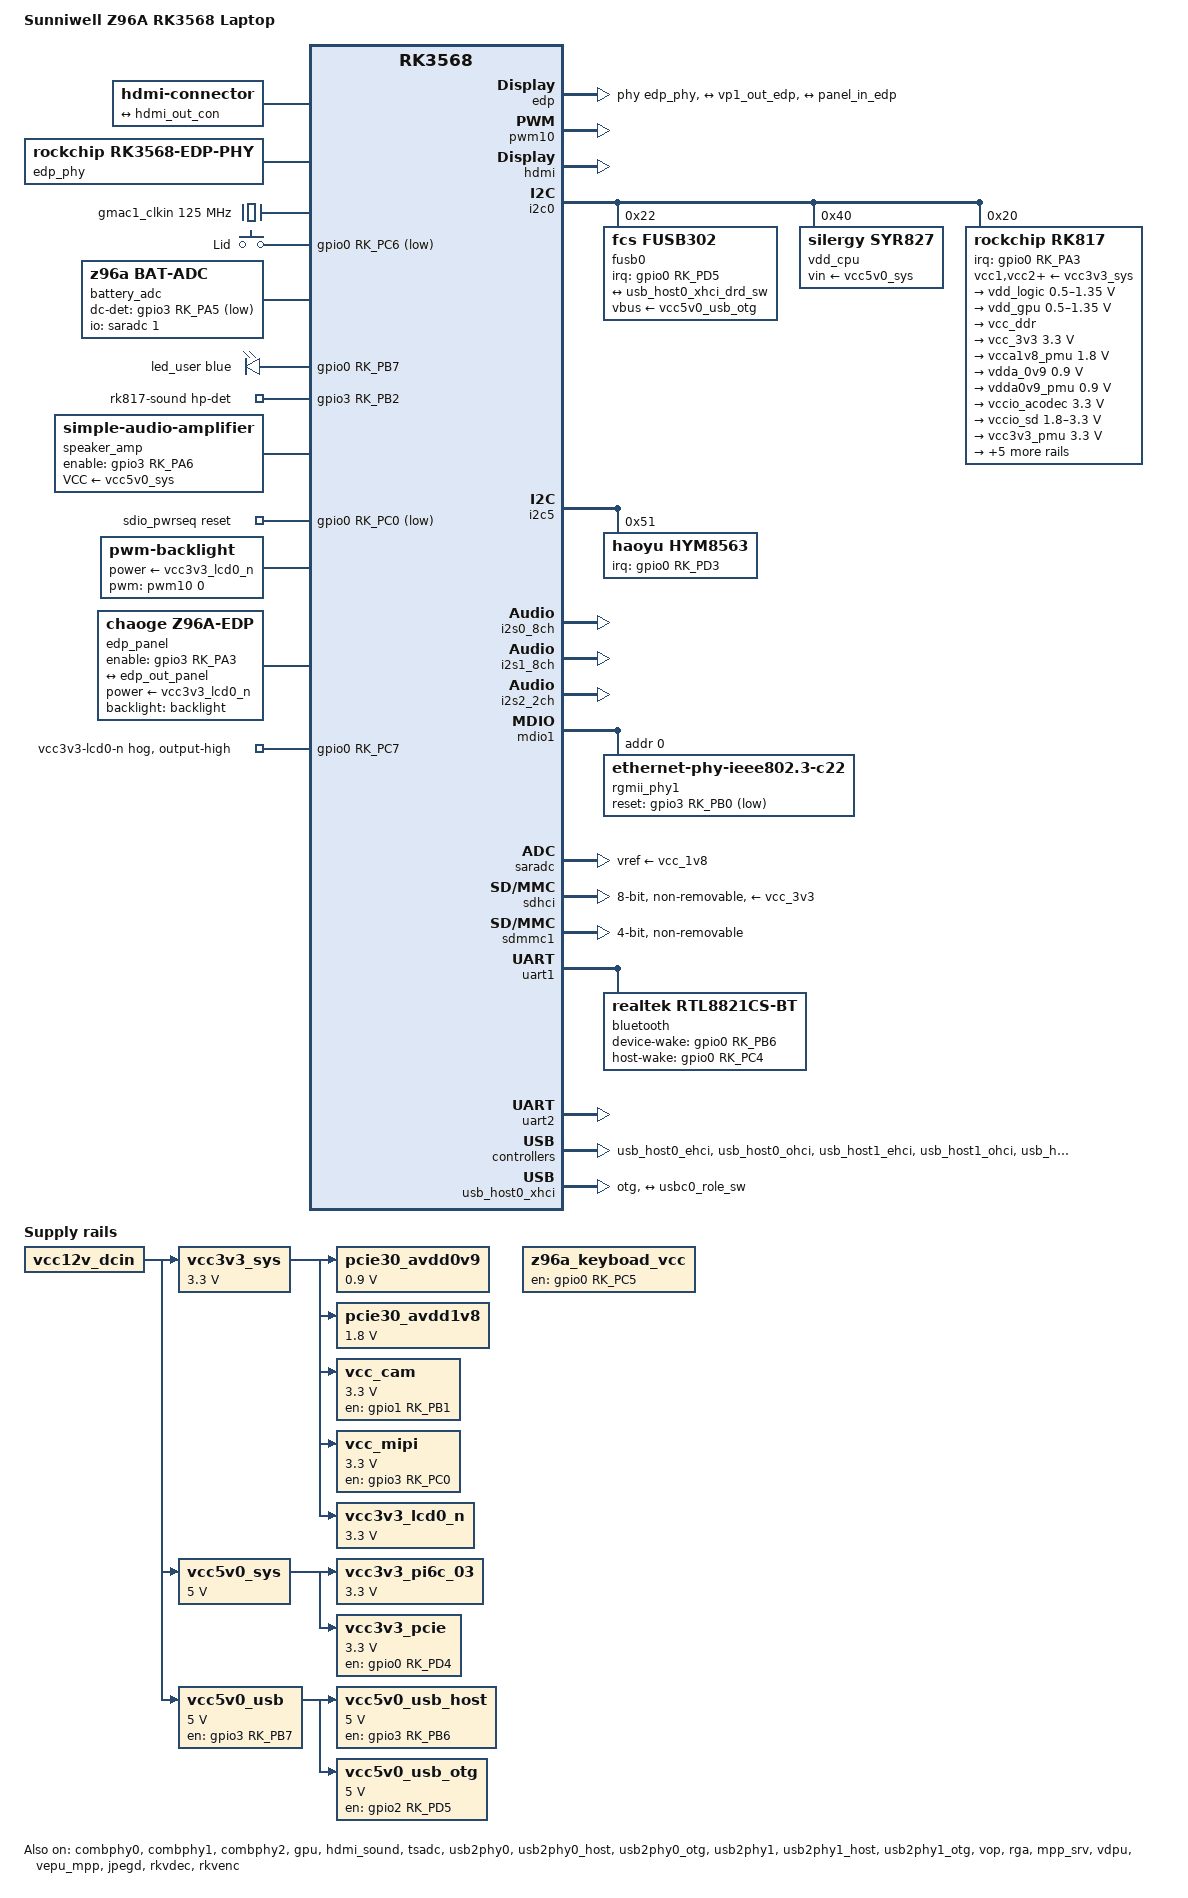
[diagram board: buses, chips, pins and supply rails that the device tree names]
// SPDX-License-Identifier: (GPL-2.0+ OR MIT)

/*
 * Sunniwell Z96A RK3568 laptop — mainline (current/6.18) bring-up DTS.
 * Derived from rk3568-rock-3a.dts; PMIC is RK817 (not Rock 3A's RK809).
 * First goal: boot + serial + regulators + Panfrost path.
 * eDP panel + PWM backlight from vendor 6.1 DTS; unused gmac1 disabled.
 * Battery: SARADC ch1 via z96a,bat-adc (CONFIG_BATTERY_Z96A_ADC). EC keyboard may still be incomplete.
 */

/dts-v1/;
#include <dt-bindings/gpio/gpio.h>
#include <dt-bindings/input/linux-event-codes.h>
#include <dt-bindings/leds/common.h>
#include <dt-bindings/pinctrl/rockchip.h>
#include <dt-bindings/soc/rockchip,vop2.h>
#include <dt-bindings/interrupt-controller/arm-gic.h>
#include <dt-bindings/clock/rk3568-cru.h>
#include <dt-bindings/power/rk3568-power.h>
#include <dt-bindings/usb/pd.h>
#include "rk3568.dtsi"

/ {
	model = "Sunniwell Z96A RK3568 Laptop";
	compatible = "sunniwell,z96a", "rockchip,rk3568";

	aliases {
		mmc0 = &sdhci;
		mmc1 = &sdmmc1;
		serial2 = &uart2;
	};

	chosen: chosen {
		stdout-path = "serial2:1500000n8";
		/*
		 * eDP fbcon: map:0 → /dev/fb0 (map:1 leaves panel blank).
		 * Mode matches the 1920x1080 panel used on hybrid bring-up.
		 * Full images still override via boot-z96a.cmd; this covers FIT/direct boot.
		 */
		bootargs = "earlycon=uart8250,mmio32,0xfe660000 console=ttyS2,1500000 console=tty1 consoleblank=0 fbcon=map:0 video=eDP-1:1920x1080@60";
	};

	hdmi-con {
		compatible = "hdmi-connector";
		type = "a";

		port {
			hdmi_con_in: endpoint {
				remote-endpoint = <&hdmi_out_con>;
			};
		};
	};


	/* SoC eDP (normally in rk356x-base.dtsi; kept board-local for reliable apply) */
	edp_phy_grf: syscon@fdcb0000 {
		compatible = "rockchip,rk3568-edp-phy-grf", "syscon", "simple-mfd";
		reg = <0x0 0xfdcb0000 0x0 0x100>;
		clocks = <&cru PCLK_EDPPHY_GRF>;

		edp_phy: edp-phy {
			compatible = "rockchip,rk3568-edp-phy";
			clocks = <&pmucru XIN_OSC0_EDPPHY_G>;
			clock-names = "refclk";
			#phy-cells = <0>;
			status = "disabled";
		};
	};

	edp: edp@fe0c0000 {
		compatible = "rockchip,rk3568-edp";
		reg = <0x0 0xfe0c0000 0x0 0x10000>;
		interrupts = <GIC_SPI 18 IRQ_TYPE_LEVEL_HIGH>;
		/* Vendor: CLK_EDP_200M as "spdif" — required for video path */
		clocks = <&pmucru XIN_OSC0_EDPPHY_G>, <&cru PCLK_EDP_CTRL>,
			 <&cru CLK_EDP_200M>, <&cru HCLK_VO>;
		clock-names = "dp", "pclk", "spdif", "hclk";
		resets = <&cru SRST_EDP_24M>, <&cru SRST_P_EDP_CTRL>;
		reset-names = "dp", "apb";
		phys = <&edp_phy>;
		phy-names = "dp";
		power-domains = <&power RK3568_PD_VO>;
		rockchip,grf = <&grf>;
		status = "disabled";

		ports {
			#address-cells = <1>;
			#size-cells = <0>;

			edp_in: port@0 {
				reg = <0>;
			};

			edp_out: port@1 {
				reg = <1>;
			};
		};
	};



	gmac1_clkin: external-gmac1-clock {
		compatible = "fixed-clock";
		clock-frequency = <125000000>;
		clock-output-names = "gmac1_clkin";
		#clock-cells = <0>;
	};

	/* Hall lid on GPIO0_C6 — SW_LID (userspace blanks; logind ignore suspend). */
	gpio_key_lid: gpio-key-lid {
		compatible = "gpio-keys";
		pinctrl-names = "default";
		pinctrl-0 = <&mh248_irq_gpio>;

		lid {
			label = "Lid";
			gpios = <&gpio0 RK_PC6 GPIO_ACTIVE_LOW>;
			linux,code = <SW_LID>;
			linux,input-type = <EV_SW>;
			wakeup-source;
			debounce-interval = <20>;
		};
	};

	/*
	 * 2S pack voltage via SoC SARADC ch1 (vendor battery-use-adc path).
	 * Scale: shipping Android bat_res 232/50 → ratio 5640 (see bat-adc-src).
	 * DC jack: GPIO3_PA5 ACTIVE_LOW (not RK_PC0 — that is vcc_mipi).
	 * Driver: bat-adc-src/z96a_bat_adc.c → CONFIG_BATTERY_Z96A_ADC.
	 * DC STATUS: GPIO IRQ + 50ms debounce; capacity still 5s poll + hysteresis.
	 */
	battery_adc: battery-adc {
		compatible = "z96a,bat-adc";
		io-channels = <&saradc 1>;
		io-channel-names = "battery-voltage";
		dc-det-gpios = <&gpio3 RK_PA5 GPIO_ACTIVE_LOW>;
		pinctrl-names = "default";
		pinctrl-0 = <&dc_det_pin>;
		status = "okay";
	};

	leds {
		compatible = "gpio-leds";

		led_user: led-0 {
			gpios = <&gpio0 RK_PB7 GPIO_ACTIVE_HIGH>;
			function = LED_FUNCTION_POWER;
			color = <LED_COLOR_ID_BLUE>;
			default-state = "on";
			linux,default-trigger = "default-on";
			pinctrl-names = "default";
			pinctrl-0 = <&led_user_en>;
		};
	};

	/*
	 * Vendor codec: AW8737 on HP path (spk-use-hp-channel + spk-ctl GPIO3_PA6),
	 * headset detect GPIO3_PB2. Mainline equivalent = PineTab2 simple-audio-amplifier.
	 */
	rk817-sound {
		compatible = "simple-audio-card";
		pinctrl-names = "default";
		pinctrl-0 = <&hp_det>;
		simple-audio-card,format = "i2s";
		simple-audio-card,name = "Analog RK817";
		simple-audio-card,mclk-fs = <256>;

		simple-audio-card,widgets =
			"Microphone", "Mic Jack",
			"Headphone", "Headphones",
			"Speaker", "Internal Speakers";

		simple-audio-card,routing =
			"MICR", "Mic Jack",
			"Headphones", "HPOL",
			"Headphones", "HPOR",
			"Internal Speakers", "Speaker Amplifier OUTL",
			"Internal Speakers", "Speaker Amplifier OUTR",
			"Speaker Amplifier INL", "HPOL",
			"Speaker Amplifier INR", "HPOR";
		simple-audio-card,hp-det-gpios = <&gpio3 RK_PB2 GPIO_ACTIVE_HIGH>;
		simple-audio-card,aux-devs = <&speaker_amp>;
		simple-audio-card,pin-switches = "Internal Speakers";

		simple-audio-card,cpu {
			sound-dai = <&i2s1_8ch>;
		};

		simple-audio-card,codec {
			sound-dai = <&rk817>;
		};
	};

	speaker_amp: speaker-amplifier {
		compatible = "simple-audio-amplifier";
		pinctrl-names = "default";
		pinctrl-0 = <&spk_ctl>;
		enable-gpios = <&gpio3 RK_PA6 GPIO_ACTIVE_HIGH>;
		sound-name-prefix = "Speaker Amplifier";
		VCC-supply = <&vcc5v0_sys>;
	};

	/* Vendor Z96A: WiFi reset on GPIO0_C0 (Rock 3A used GPIO3_D4). */
	sdio_pwrseq: sdio-pwrseq {
		compatible = "mmc-pwrseq-simple";
		clocks = <&rk817 1>;
		clock-names = "ext_clock";
		pinctrl-names = "default";
		pinctrl-0 = <&wifi_enable_h>;
		post-power-on-delay-ms = <100>;
		power-off-delay-us = <5000000>;
		reset-gpios = <&gpio0 RK_PC0 GPIO_ACTIVE_LOW>;
	};

	vcc12v_dcin: regulator-vcc12v-dcin {
		compatible = "regulator-fixed";
		regulator-name = "vcc12v_dcin";
		regulator-always-on;
		regulator-boot-on;
	};

	pcie30_avdd0v9: regulator-pcie30-avdd0v9 {
		compatible = "regulator-fixed";
		regulator-name = "pcie30_avdd0v9";
		regulator-always-on;
		regulator-boot-on;
		regulator-min-microvolt = <900000>;
		regulator-max-microvolt = <900000>;
		vin-supply = <&vcc3v3_sys>;
	};

	pcie30_avdd1v8: regulator-pcie30-avdd1v8 {
		compatible = "regulator-fixed";
		regulator-name = "pcie30_avdd1v8";
		regulator-always-on;
		regulator-boot-on;
		regulator-min-microvolt = <1800000>;
		regulator-max-microvolt = <1800000>;
		vin-supply = <&vcc3v3_sys>;
	};

	/* pi6c pcie clock generator */
	vcc3v3_pi6c_03: regulator-vcc3v3-pi6c-03 {
		compatible = "regulator-fixed";
		regulator-name = "vcc3v3_pi6c_03";
		regulator-always-on;
		regulator-boot-on;
		regulator-min-microvolt = <3300000>;
		regulator-max-microvolt = <3300000>;
		vin-supply = <&vcc5v0_sys>;
	};

	vcc3v3_pcie: regulator-vcc3v3-pcie {
		compatible = "regulator-fixed";
		enable-active-high;
		gpios = <&gpio0 RK_PD4 GPIO_ACTIVE_HIGH>;
		pinctrl-names = "default";
		pinctrl-0 = <&pcie_enable_h>;
		regulator-name = "vcc3v3_pcie";
		regulator-min-microvolt = <3300000>;
		regulator-max-microvolt = <3300000>;
		vin-supply = <&vcc5v0_sys>;
	};

	vcc3v3_sys: regulator-vcc3v3-sys {
		compatible = "regulator-fixed";
		regulator-name = "vcc3v3_sys";
		regulator-always-on;
		regulator-boot-on;
		regulator-min-microvolt = <3300000>;
		regulator-max-microvolt = <3300000>;
		vin-supply = <&vcc12v_dcin>;
	};

	vcc5v0_sys: regulator-vcc5v0-sys {
		compatible = "regulator-fixed";
		regulator-name = "vcc5v0_sys";
		regulator-always-on;
		regulator-boot-on;
		regulator-min-microvolt = <5000000>;
		regulator-max-microvolt = <5000000>;
		vin-supply = <&vcc12v_dcin>;
	};

	vcc5v0_usb: regulator-vcc5v0-usb {
		compatible = "regulator-fixed";
		regulator-name = "vcc5v0_usb";
		regulator-always-on;
		regulator-boot-on;
		regulator-min-microvolt = <5000000>;
		regulator-max-microvolt = <5000000>;
		enable-active-high;
		gpio = <&gpio3 RK_PB7 GPIO_ACTIVE_HIGH>;
		vin-supply = <&vcc12v_dcin>;
		pinctrl-names = "default";
		pinctrl-0 = <&vcc5v0_otg_pwr_en>;
	};

	vcc5v0_usb_host: regulator-vcc5v0-usb-host {
		compatible = "regulator-fixed";
		enable-active-high;
		gpio = <&gpio3 RK_PB6 GPIO_ACTIVE_HIGH>;
		pinctrl-names = "default";
		pinctrl-0 = <&vcc5v0_usb_host_en>;
		regulator-name = "vcc5v0_usb_host";
		regulator-always-on;
		regulator-boot-on;
		regulator-min-microvolt = <5000000>;
		regulator-max-microvolt = <5000000>;
		vin-supply = <&vcc5v0_usb>;
	};

	vcc5v0_usb_otg: regulator-vcc5v0-usb-otg {
		compatible = "regulator-fixed";
		enable-active-high;
		gpio = <&gpio2 RK_PD5 GPIO_ACTIVE_HIGH>;
		pinctrl-names = "default";
		pinctrl-0 = <&vcc5v0_usb_otg_en>;
		regulator-name = "vcc5v0_usb_otg";
		regulator-min-microvolt = <5000000>;
		regulator-max-microvolt = <5000000>;
		vin-supply = <&vcc5v0_usb>;
	};

	/* Keyboard/touchpad combo 5V (USB HID behind Terminus hub). */
	z96a_keyboad_vcc: z96a-keyboad-vcc {
		compatible = "regulator-fixed";
		gpio = <&gpio0 RK_PC5 GPIO_ACTIVE_HIGH>;
		pinctrl-names = "default";
		pinctrl-0 = <&z96a_keyboard_pwr>;
		regulator-name = "z96a_keyboad_vcc";
		enable-active-high;
		regulator-always-on;
		regulator-boot-on;
	};

	vcc_cam: regulator-vcc-cam {
		compatible = "regulator-fixed";
		enable-active-high;
		gpio = <&gpio1 RK_PB1 GPIO_ACTIVE_HIGH>;
		pinctrl-names = "default";
		pinctrl-0 = <&vcc_cam_en>;
		regulator-name = "vcc_cam";
		regulator-min-microvolt = <3300000>;
		regulator-max-microvolt = <3300000>;
		vin-supply = <&vcc3v3_sys>;

		regulator-state-mem {
			regulator-off-in-suspend;
		};
	};

	vcc_mipi: regulator-vcc-mipi {
		compatible = "regulator-fixed";
		enable-active-high;
		gpio = <&gpio3 RK_PC0 GPIO_ACTIVE_HIGH>;
		pinctrl-names = "default";
		pinctrl-0 = <&vcc_mipi_en>;
		regulator-name = "vcc_mipi";
		regulator-min-microvolt = <3300000>;
		regulator-max-microvolt = <3300000>;
		vin-supply = <&vcc3v3_sys>;

		regulator-state-mem {
			regulator-off-in-suspend;
		};
	};

	/*
	 * LCD 3V3 rail. Hybrid log showed regulator "enabled" while GPIO0_PC7
	 * stayed out-lo (ena_gpio_state vs raw level mismatch) — panel/AUX dead
	 * and no backlight glow. Own the pin via gpio-hog (below) and keep this
	 * as a pure always-on supply for consumers.
	 */
	vcc3v3_lcd0_n: vcc3v3-lcd0-n {
		compatible = "regulator-fixed";
		regulator-name = "vcc3v3_lcd0_n";
		regulator-always-on;
		regulator-boot-on;
		regulator-min-microvolt = <3300000>;
		regulator-max-microvolt = <3300000>;
		vin-supply = <&vcc3v3_sys>;
	};

	backlight: backlight {
		compatible = "pwm-backlight";
		pwms = <&pwm10 0 5000 0>; /* 200 kHz; vendor was 25000 (40 kHz) */
		brightness-levels = <
			  0  20  40  60  80 100 120 140
			160 180 200 220 240 255
		>;
		default-brightness-level = <13>;
		power-supply = <&vcc3v3_lcd0_n>;
	};

	/*
	 * Match vendor panel params (simple-panel): enable-gpios, bus-format,
	 * 20/20 delays, 1920x1080@141.4MHz. Mainline uses panel-dpi binding.
	 */
	edp_panel: edp-panel {
		compatible = "chaoge,z96a-edp", "panel-dpi";
		status = "okay";
		power-supply = <&vcc3v3_lcd0_n>;
		backlight = <&backlight>;
		enable-gpios = <&gpio3 RK_PA3 GPIO_ACTIVE_HIGH>;
		bus-format = <0x100a>; /* MEDIA_BUS_FMT_RGB888_1X24 */
		width-mm = <309>;
		height-mm = <173>;
		bpc = <8>;
		prepare-delay-ms = <20>;
		enable-delay-ms = <20>;

		panel-timing {
			clock-frequency = <141400000>;
			hactive = <1920>;
			vactive = <1080>;
			hfront-porch = <48>;
			hsync-len = <32>;
			hback-porch = <142>;
			vfront-porch = <3>;
			vsync-len = <6>;
			vback-porch = <11>;
			hsync-active = <0>;
			vsync-active = <0>;
			de-active = <0>;
			pixelclk-active = <0>;
		};

		port {
			panel_in_edp: endpoint {
				remote-endpoint = <&edp_out_panel>;
			};
		};
	};
};

&combphy0 {
	status = "okay";
};

&combphy1 {
	status = "okay";
};

&combphy2 {
	status = "okay";
};

&cpu0 {
	cpu-supply = <&vdd_cpu>;
};

&cpu1 {
	cpu-supply = <&vdd_cpu>;
};

&cpu2 {
	cpu-supply = <&vdd_cpu>;
};

&cpu3 {
	cpu-supply = <&vdd_cpu>;
};

/* Laptop has no wired RGMII; leave disabled to avoid TX watchdog spam. */
&gmac1 {
	status = "disabled";
};

&gpu {
	mali-supply = <&vdd_gpu>;
	status = "okay";
};

/*
 * CPU OC: needs TF-A SCMI PVTPLL 2088/2208 (userpatches atf 1010).
 * Voltages within SYR827 max 1.39V; validated with clk_scmi_cpu.
 */
&cpu0_opp_table {
	opp-2088000000 {
		opp-hz = /bits/ 64 <2088000000>;
		opp-microvolt = <1225000 1225000 1390000>;
		clock-latency-ns = <40000>;
	};
	opp-2208000000 {
		opp-hz = /bits/ 64 <2208000000>;
		opp-microvolt = <1300000 1300000 1390000>;
		clock-latency-ns = <40000>;
	};
};

/* GPU OC: needs TF-A SCMI PVTPLL 900/1000 (userpatches atf 1011). */
&gpu_opp_table {
	opp-900000000 {
		opp-hz = /bits/ 64 <900000000>;
		opp-microvolt = <1050000 1050000 1150000>;
	};
	opp-1000000000 {
		opp-hz = /bits/ 64 <1000000000>;
		opp-microvolt = <1100000 1100000 1150000>;
	};
};

&gpio0 {
		gpio-line-names =
				/* GPIO0_A0 - A7 */
				"", "", "", "", "", "", "", "",
				/* GPIO0_B0 - B7 */
				"", "", "", "pin-28 [GPIO0_B3]", "pin-27 [GPIO0_B4]", "pin-7 [GPIO0_B5]", "pin-16 [GPIO0_B6]", "",
				/* GPIO0_C0 - C7 */
				"", "pin-22 [GPIO0_C1]", "", "", "", "", "", "",
				/* GPIO0_D0 - D7 */
				"pin-10 [GPIO0_D0]", "pin-8 [GPIO0_D1]", "", "", "", "", "", "";

		/* Force LCD 3V3 enable high — was stuck out-lo under regulator-fixed. */
		lcd_vcc_hog: lcd-vcc-hog {
			gpio-hog;
			gpios = <RK_PC7 GPIO_ACTIVE_HIGH>;
			output-high;
			line-name = "vcc3v3-lcd0-n";
		};
};

&gpio1 {
		gpio-line-names =
				/* GPIO1_A0 - A7 */
				"pin-3 [GPIO1_A0]", "pin-5 [GPIO1_A1]", "", "", "", "", "", "",
				/* GPIO1_B0 - B7 */
				"", "", "", "", "", "", "", "",
				/* GPIO1_C0 - C7 */
				"pin-15 [GPIO0_C0]", "", "", "", "", "", "", "",
				/* GPIO1_D0 - D7 */
				"", "", "", "", "", "", "", "";
};

&gpio2 {
		gpio-line-names =
				/* GPIO2_A0 - A7 */
				"", "", "", "", "", "", "", "",
				/* GPIO2_B0 - B7 */
				"", "", "", "", "", "", "", "",
				/* GPIO2_C0 - C7 */
				"", "", "", "", "", "", "", "",
				/* GPIO2_D0 - D7 */
				"", "", "", "", "", "", "", "pin-29 [GPIO2_D7]";
};

&gpio3 {
		gpio-line-names =
				/* GPIO3_A0 - A7 */
				"pin-31 [GPIO3_A0]", "", "pin-36 [GPIO3_A2]", "pin-12 [GPIO3_A3]", "pin-35 [GPIO3_A4]", "pin-40 [GPIO3_A5]", "pin-38 [GPIO3_A6]", "",
				/* GPIO3_B0 - B7 */
				"", "", "pin-18 [GPIO3_B2]", "", "", "", "", "",
				/* GPIO3_C0 - C7 */
				"", "", "pin-32 [GPIO3_C2]", "pin-33 [GPIO3_C3]", "pin-11 [GPIO3_C4]", "pin-13 [GPIO3_C5]", "", "",
				/* GPIO3_D0 - D7 */
				"", "", "", "", "", "", "", "";

};

&gpio4 {
		gpio-line-names =
				/* GPIO4_A0 - A7 */
				"", "", "", "", "", "", "", "",
				/* GPIO4_B0 - B7 */
				"", "", "", "", "", "", "", "",
				/* GPIO4_C0 - C7 */
				"", "", "pin-21 [GPIO4_C2]", "pin-19 [GPIO4_C3]", "", "pin-21 [GPIO4_C5]", "pin-24 [GPIO4_C6]", "",
				/* GPIO4_D0 - D7 */
				"", "pin-26 [GPIO4_D1]", "", "", "", "", "", "";
};

&edp {
	force-hpd;
	status = "okay";

	ports {
		port@0 {
			reg = <0>;

			/* Vendor: eDP on vp1; VOP keeps AAAA intent (cuts OUT_MODE if needed). */
			edp_in_vp1: endpoint {
				remote-endpoint = <&vp1_out_edp>;
			};
		};

		port@1 {
			reg = <1>;

			edp_out_panel: endpoint {
				remote-endpoint = <&panel_in_edp>;
			};
		};
	};
};

&edp_phy {
	status = "okay";
};

&pwm10 {
	status = "okay";
};

&hdmi {
	avdd-0v9-supply = <&vdda_0v9>;
	avdd-1v8-supply = <&vcc_1v8>;
	status = "okay";
};

&hdmi_in {
	hdmi_in_vp0: endpoint {
		remote-endpoint = <&vp0_out_hdmi>;
	};
};

&hdmi_out {
	hdmi_out_con: endpoint {
		remote-endpoint = <&hdmi_con_in>;
	};
};

&hdmi_sound {
	status = "okay";
};

&i2c0 {
	status = "okay";


	/* Type-C / PD TCPC (vendor @0x22, INT GPIO0_PD5). */
	fusb0: typec-portc@22 {
		compatible = "fcs,fusb302";
		reg = <0x22>;
		interrupt-parent = <&gpio0>;
		interrupts = <RK_PD5 IRQ_TYPE_LEVEL_LOW>;
		pinctrl-names = "default";
		pinctrl-0 = <&fusb0_int>;
		vbus-supply = <&vcc5v0_usb_otg>;
		status = "okay";

		usb_con: connector {
			compatible = "usb-c-connector";
			label = "USB-C";
			power-role = "dual";
			data-role = "dual";
			try-power-role = "sink";
			source-pdos = <PDO_FIXED(5000, 3000, PDO_FIXED_USB_COMM)>;
			/* Keep 5V-only sink (matches vendor). Higher VBUS needs HW confirm. */
			sink-pdos = <PDO_FIXED(5000, 3000, PDO_FIXED_USB_COMM)>;
			op-sink-microwatt = <10000000>;

			ports {
				#address-cells = <1>;
				#size-cells = <0>;

				port@0 {
					reg = <0>;
					usbc0_role_sw: endpoint {
						remote-endpoint = <&usb_host0_xhci_drd_sw>;
					};
				};
			};
		};
	};

	/* Vendor Z96A: Silergy SYR827/837 @0x40 (NOT TCS4525@0x1c / Rock3A). */
	vdd_cpu: regulator@40 {
		compatible = "silergy,syr827";
		reg = <0x40>;
		fcs,suspend-voltage-selector = <1>;
		regulator-name = "vdd_cpu";
		regulator-always-on;
		regulator-boot-on;
		regulator-min-microvolt = <712500>;
		regulator-max-microvolt = <1390000>;
		regulator-ramp-delay = <2300>;
		vin-supply = <&vcc5v0_sys>;

		regulator-state-mem {
			regulator-off-in-suspend;
		};
	};

	rk817: pmic@20 {
		compatible = "rockchip,rk817";
		reg = <0x20>;
		interrupt-parent = <&gpio0>;
		interrupts = <RK_PA3 IRQ_TYPE_LEVEL_LOW>;
		assigned-clocks = <&cru I2S1_MCLKOUT_TX>;
		assigned-clock-parents = <&cru CLK_I2S1_8CH_TX>;
		#clock-cells = <1>;
		clock-names = "mclk";
		clocks = <&cru I2S1_MCLKOUT_TX>;
		pinctrl-names = "default";
		pinctrl-0 = <&pmic_int>, <&i2s1m0_mclk>;
		system-power-controller;
		#sound-dai-cells = <0>;
		vcc1-supply = <&vcc3v3_sys>;
		vcc2-supply = <&vcc3v3_sys>;
		vcc3-supply = <&vcc3v3_sys>;
		vcc4-supply = <&vcc3v3_sys>;
		vcc5-supply = <&vcc3v3_sys>;
		vcc6-supply = <&vcc3v3_sys>;
		vcc7-supply = <&vcc3v3_sys>;
		vcc8-supply = <&vcc3v3_sys>;
		vcc9-supply = <&vcc3v3_sys>;
		wakeup-source;

		/* Parsed by rk817-codec (child name must be "codec"). */
		codec {
			rockchip,mic-in-differential;
		};

		/*
		 * RK817 rail map from vendor z96a DTS (NOT Rock 3A / RK809).
		 * RK817 has no DCDC_REG5 / SWITCH_REG*; those phandles never
		 * register → eMMC vmmc defer + "vdd_npu: disabling" killing DCDC4.
		 */
		regulators {
			vdd_logic: DCDC_REG1 {
				regulator-name = "vdd_logic";
				regulator-always-on;
				regulator-boot-on;
				regulator-initial-mode = <0x2>;
				regulator-min-microvolt = <500000>;
				regulator-max-microvolt = <1350000>;
				regulator-ramp-delay = <6001>;

				regulator-state-mem {
					regulator-off-in-suspend;
				};
			};

			vdd_gpu: DCDC_REG2 {
				regulator-name = "vdd_gpu";
				regulator-always-on;
				regulator-boot-on;
				regulator-initial-mode = <0x2>;
				regulator-min-microvolt = <500000>;
				regulator-max-microvolt = <1350000>;
				regulator-ramp-delay = <6001>;

				regulator-state-mem {
					regulator-off-in-suspend;
				};
			};

			vcc_ddr: DCDC_REG3 {
				regulator-name = "vcc_ddr";
				regulator-always-on;
				regulator-boot-on;
				regulator-initial-mode = <0x2>;

				regulator-state-mem {
					regulator-on-in-suspend;
				};
			};

			vcc_3v3: DCDC_REG4 {
				regulator-name = "vcc_3v3";
				regulator-always-on;
				regulator-boot-on;
				regulator-initial-mode = <0x2>;
				regulator-min-microvolt = <3300000>;
				regulator-max-microvolt = <3300000>;

				regulator-state-mem {
					regulator-on-in-suspend;
					regulator-suspend-microvolt = <3300000>;
				};
			};

			vcca1v8_pmu: LDO_REG1 {
				regulator-name = "vcca1v8_pmu";
				regulator-always-on;
				regulator-boot-on;
				regulator-min-microvolt = <1800000>;
				regulator-max-microvolt = <1800000>;

				regulator-state-mem {
					regulator-on-in-suspend;
					regulator-suspend-microvolt = <1800000>;
				};
			};

			vdda_0v9: LDO_REG2 {
				regulator-name = "vdda_0v9";
				regulator-always-on;
				regulator-boot-on;
				regulator-min-microvolt = <900000>;
				regulator-max-microvolt = <900000>;

				regulator-state-mem {
					regulator-off-in-suspend;
				};
			};

			vdda0v9_pmu: LDO_REG3 {
				regulator-name = "vdda0v9_pmu";
				regulator-always-on;
				regulator-boot-on;
				regulator-min-microvolt = <900000>;
				regulator-max-microvolt = <900000>;

				regulator-state-mem {
					regulator-on-in-suspend;
					regulator-suspend-microvolt = <900000>;
				};
			};

			vccio_acodec: LDO_REG4 {
				regulator-name = "vccio_acodec";
				regulator-always-on;
				regulator-boot-on;
				regulator-min-microvolt = <3300000>;
				regulator-max-microvolt = <3300000>;

				regulator-state-mem {
					regulator-off-in-suspend;
				};
			};

			vccio_sd: LDO_REG5 {
				regulator-name = "vccio_sd";
				regulator-always-on;
				regulator-boot-on;
				regulator-min-microvolt = <1800000>;
				regulator-max-microvolt = <3300000>;

				regulator-state-mem {
					regulator-off-in-suspend;
				};
			};

			vcc3v3_pmu: LDO_REG6 {
				regulator-name = "vcc3v3_pmu";
				regulator-always-on;
				regulator-boot-on;
				regulator-min-microvolt = <3300000>;
				regulator-max-microvolt = <3300000>;

				regulator-state-mem {
					regulator-on-in-suspend;
					regulator-suspend-microvolt = <3300000>;
				};
			};

			vcc_1v8: LDO_REG7 {
				regulator-name = "vcc_1v8";
				regulator-always-on;
				regulator-boot-on;
				regulator-min-microvolt = <1800000>;
				regulator-max-microvolt = <1800000>;

				regulator-state-mem {
					regulator-off-in-suspend;
				};
			};

			vcc1v8_dvp: LDO_REG8 {
				regulator-name = "vcc1v8_dvp";
				regulator-always-on;
				regulator-boot-on;
				regulator-min-microvolt = <1800000>;
				regulator-max-microvolt = <1800000>;

				regulator-state-mem {
					regulator-off-in-suspend;
				};
			};

			vcc2v8_dvp: LDO_REG9 {
				regulator-name = "vcc2v8_dvp";
				regulator-always-on;
				regulator-boot-on;
				regulator-min-microvolt = <1800000>;
				regulator-max-microvolt = <1800000>;

				regulator-state-mem {
					regulator-off-in-suspend;
				};
			};

			dcdc_boost: BOOST {
				regulator-name = "boost";
				regulator-always-on;
				regulator-boot-on;
				regulator-min-microvolt = <5000000>;
				regulator-max-microvolt = <5000000>;

				regulator-state-mem {
					regulator-off-in-suspend;
				};
			};

			otg_switch: OTG_SWITCH {
				regulator-name = "otg_switch";

				regulator-state-mem {
					regulator-off-in-suspend;
				};
			};
		};
	};
};

&i2c3 {
	pinctrl-names = "default";
	pinctrl-0 = <&i2c3m1_xfer>;
	status = "disabled";
};

&i2c4 {
	pinctrl-names = "default";
	pinctrl-0 = <&i2c4m1_xfer>;
	status = "disabled";
};

&i2c5 {
	status = "okay";

	hym8563: rtc@51 {
		compatible = "haoyu,hym8563";
		reg = <0x51>;
		interrupt-parent = <&gpio0>;
		interrupts = <RK_PD3 IRQ_TYPE_LEVEL_LOW>;
		#clock-cells = <0>;
		clock-output-names = "rtcic_32kout";
		pinctrl-names = "default";
		pinctrl-0 = <&hym8563_int>;
		wakeup-source;
	};
};

&i2s0_8ch {
	status = "okay";
};

&i2s1_8ch {
	pinctrl-names = "default";
	pinctrl-0 = <&i2s1m0_sclktx &i2s1m0_lrcktx &i2s1m0_sdi0 &i2s1m0_sdo0>;
	rockchip,trcm-sync-tx-only;
	status = "okay";
};

&i2s2_2ch {
	rockchip,trcm-sync-tx-only;
	status = "okay";
};

&mdio1 {
	rgmii_phy1: ethernet-phy@0 {
		compatible = "ethernet-phy-ieee802.3-c22";
		reg = <0x0>;
		pinctrl-names = "default";
		pinctrl-0 = <&eth_phy_rst>;
		reset-assert-us = <20000>;
		reset-deassert-us = <100000>;
		reset-gpios = <&gpio3 RK_PB0 GPIO_ACTIVE_LOW>;
	};
};

/* Bring-up: PCIe PHY not ready on this DTS — disable to stop deferred spam. */
&pcie2x1 {
	status = "disabled";
};

&pcie30phy {
	status = "disabled";
};

&pcie3x2 {
	status = "disabled";
};

&pinctrl {

	mh248 {
		mh248_irq_gpio: mh248-irq-gpio {
			rockchip,pins = <0 RK_PC6 RK_FUNC_GPIO &pcfg_pull_up>;
		};
	};
	cam {
		vcc_cam_en: vcc_cam_en {
			rockchip,pins = <1 RK_PB1 RK_FUNC_GPIO &pcfg_pull_none>;
		};
	};

	display {
		vcc_mipi_en: vcc_mipi_en {
			rockchip,pins = <3 RK_PC0 RK_FUNC_GPIO &pcfg_pull_none>;
		};
	};

	ethernet {
		eth_phy_rst: eth_phy_rst {
			rockchip,pins = <3 RK_PB0 RK_FUNC_GPIO &pcfg_pull_none>;
		};
	};

	hym8563 {
		hym8563_int: hym8563-int {
			rockchip,pins = <0 RK_PD3 RK_FUNC_GPIO &pcfg_pull_up>;
		};
	};

	leds {
		led_user_en: led_user_en {
			rockchip,pins = <0 RK_PB7 RK_FUNC_GPIO &pcfg_pull_none>;
		};
	};

	power {
		/* Vendor dc_det — ACTIVE_LOW jack sense (pull-up). */
		dc_det_pin: dc-det-pin {
			rockchip,pins = <3 RK_PA5 RK_FUNC_GPIO &pcfg_pull_up>;
		};
	};

	pcie {
		pcie_enable_h: pcie-enable-h {
			rockchip,pins = <0 RK_PD4 RK_FUNC_GPIO &pcfg_pull_none>;
		};

		pcie_reset_h: pcie-reset-h {
			rockchip,pins = <3 RK_PC1 RK_FUNC_GPIO &pcfg_pull_none>;
		};
	};

	pmic {
		pmic_int: pmic_int {
			rockchip,pins =
				<0 RK_PA3 RK_FUNC_GPIO &pcfg_pull_up>;
		};
	};

	usb {
		vcc5v0_usb_host_en: vcc5v0_usb_host_en {
			rockchip,pins = <3 RK_PB6 RK_FUNC_GPIO &pcfg_pull_none>;
		};
		vcc5v0_otg_pwr_en: vcc5v0-otg-pwr-en {
			rockchip,pins = <3 RK_PB7 RK_FUNC_GPIO &pcfg_pull_none>;
		};
		vcc5v0_usb_otg_en: vcc5v0_usb_otg_en {
			rockchip,pins = <2 RK_PD5 RK_FUNC_GPIO &pcfg_pull_none>;
		};
		z96a_keyboard_pwr: z96a-keyboard-pwr {
			rockchip,pins = <0 RK_PC5 RK_FUNC_GPIO &pcfg_output_high>;
		};
	};

	/*
	 * Vendor wireless-bluetooth GPIOs (NOT Rock 3A GPIO4_*):
	 *   BT reset / wifi enable share GPIO0_PC1 — keep high via wifi_enable
	 *   (do NOT bind serdev enable-gpios to PC1; a reset pulse kills SDIO WiFi).
	 *   BT wake GPIO0_PB6, host-wake GPIO0_PC4 (shared with wifi host-wake).
	 */
	bt {
		bt_wake: bt-wake {
			rockchip,pins = <0 RK_PB6 RK_FUNC_GPIO &pcfg_pull_none>;
		};

		bt_host_wake: bt-host-wake {
			rockchip,pins = <0 RK_PC4 RK_FUNC_GPIO &pcfg_pull_down>;
		};
	};

	sdio-pwrseq {
		/* Hold combo-chip enable high (vendor BT reset shares this pad). */
		wifi_enable_h: wifi-enable-h {
			rockchip,pins = <0 RK_PC1 RK_FUNC_GPIO &pcfg_output_high>;
		};
	};

	sound {
		hp_det: hp-det {
			rockchip,pins = <3 RK_PB2 RK_FUNC_GPIO &pcfg_pull_up>;
		};

		spk_ctl: spk-ctl {
			rockchip,pins = <3 RK_PA6 RK_FUNC_GPIO &pcfg_pull_none>;
		};
	};
	fusb30x {
		fusb0_int: fusb0-int {
			rockchip,pins = <0 RK_PD5 RK_FUNC_GPIO &pcfg_pull_up>;
		};
	};

};

&pmu_io_domains {
	/* Match vendor z96a io-domain supplies. */
	pmuio1-supply = <&vcc3v3_pmu>;
	pmuio2-supply = <&vcca1v8_pmu>;
	vccio1-supply = <&vccio_acodec>;
	vccio3-supply = <&vccio_sd>;
	vccio4-supply = <&vcca1v8_pmu>;
	vccio5-supply = <&vcc_3v3>;
	vccio6-supply = <&vcc1v8_dvp>;
	vccio7-supply = <&vcc_3v3>;
	status = "okay";
};

&saradc {
	vref-supply = <&vcc_1v8>;
	status = "okay";
};

/* eMMC: vcc_3v3 is RK817 DCDC_REG4 on this board (vendor map).
 * HS400 left disabled: board dropped to initramfs after enabling it (2026-10-05).
 */
&sdhci {
	bus-width = <8>;
	cap-mmc-highspeed;
	max-frequency = <200000000>;
	mmc-hs200-1_8v;
	no-sd;
	no-sdio;
	non-removable;
	pinctrl-names = "default";
	pinctrl-0 = <&emmc_bus8 &emmc_clk &emmc_cmd &emmc_datastrobe &emmc_rstnout>;
	vmmc-supply = <&vcc_3v3>;
	vqmmc-supply = <&vcc_1v8>;
	status = "okay";
};

/* Vendor DTS disables sdmmc0 (no usable SD slot path on this laptop). */
&sdmmc0 {
	status = "disabled";
};

/*
 * WiFi (RTL8821CS) is on sdmmc1 in vendor DTS, not Rock 3A's sdmmc2.
 * Disable Rock 3A sdmmc2 to avoid long SDIO timeouts during bring-up.
 */
&sdmmc2 {
	status = "disabled";
};

&sdmmc1 {
	bus-width = <4>;
	cap-sd-highspeed;
	cap-sdio-irq;
	disable-wp;
	keep-power-in-suspend;
	mmc-pwrseq = <&sdio_pwrseq>;
	non-removable;
	pinctrl-names = "default";
	pinctrl-0 = <&sdmmc1_bus4 &sdmmc1_cmd &sdmmc1_clk>;
	sd-uhs-sdr104;
	status = "okay";
};

/* Z96A boots from eMMC; SFC SPI NOR unused and fspi-pins conflicts (gpio1-23). */
&sfc {
	status = "disabled";
};

&tsadc {
	rockchip,hw-tshut-mode = <1>;
	rockchip,hw-tshut-polarity = <0>;
	status = "okay";
};

&uart1 {
	pinctrl-names = "default";
	pinctrl-0 = <&uart1m0_xfer &uart1m0_ctsn &uart1m0_rtsn>;
	uart-has-rtscts;
	status = "okay";

	/*
	 * Vendor bluetooth-platdata → mainline H5 serdev (Anbernic RGXX3 pattern).
	 * No enable-gpios: PC1 is shared wifi enable (held high by sdio_pwrseq pinctrl).
	 */
	bluetooth {
		compatible = "realtek,rtl8821cs-bt", "realtek,rtl8723bs-bt";
		device-wake-gpios = <&gpio0 RK_PB6 GPIO_ACTIVE_HIGH>;
		host-wake-gpios = <&gpio0 RK_PC4 GPIO_ACTIVE_HIGH>;
		pinctrl-names = "default";
		pinctrl-0 = <&bt_wake &bt_host_wake>;
	};
};

&uart2 {
	status = "okay";
};

/* USB2 + USB3: combphy already okay; xHCI on with Type-C role-switch on host0. */
&usb_host0_ehci {
	status = "okay";
};

&usb_host0_ohci {
	status = "okay";
};

&usb_host0_xhci {
	dr_mode = "otg";
	usb-role-switch;
	status = "okay";

	port {
		usb_host0_xhci_drd_sw: endpoint {
			remote-endpoint = <&usbc0_role_sw>;
		};
	};
};

&usb_host1_ehci {
	status = "okay";
};

&usb_host1_ohci {
	status = "okay";
};

&usb_host1_xhci {
	status = "okay";
};

&usb2phy0 {
	status = "okay";
};

&usb2phy0_host {
	phy-supply = <&vcc5v0_usb_host>;
	status = "okay";
};

/*
 * Type-C VBUS is owned by FUSB302 (vbus-supply). Do NOT bind phy-supply here —
 * usb2phy otg-port would keep vcc5v0_usb_otg always on and fight a PD charger.
 */
&usb2phy0_otg {
	status = "okay";
};

&usb2phy1 {
	status = "okay";
};

&usb2phy1_host {
	phy-supply = <&vcc5v0_usb_host>;
	status = "okay";
};

&usb2phy1_otg {
	phy-supply = <&vcc5v0_usb_host>;
	status = "okay";
};

/*
	 * DCLK_VOP* is CLK_SET_RATE_NO_REPARENT without SET_RATE_PARENT, so it
	 * cannot pull VPLL/HPLL out of 24 MHz slow mode by itself. Bootstrap
	 * the PLLs to a table rate; modeset then divides to ~148.5 / 141.4 MHz.
	 */
&cru {
	assigned-clocks = <&cru PLL_VPLL>;
	assigned-clock-rates = <594000000>;
};

&pmucru {
	assigned-clocks = <&pmucru PLL_HPLL>;
	assigned-clock-rates = <594000000>;
};



&vop {
	assigned-clocks = <&cru DCLK_VOP0>, <&cru DCLK_VOP1>;
	assigned-clock-parents = <&pmucru PLL_HPLL>, <&cru PLL_VPLL>;
	status = "okay";
};

&vop_mmu {
	status = "okay";
};

&vp0 {
	vp0_out_hdmi: endpoint@ROCKCHIP_VOP2_EP_HDMI0 {
		reg = <ROCKCHIP_VOP2_EP_HDMI0>;
		remote-endpoint = <&hdmi_in_vp0>;
	};
};

&vp1 {
	vp1_out_edp: endpoint@ROCKCHIP_VOP2_EP_EDP0 {
		reg = <ROCKCHIP_VOP2_EP_EDP0>;
		remote-endpoint = <&edp_in_vp1>;
	};
};

/* Board-level claim: mainline rockchip-rga (/dev/video0). */
&rga {
	status = "okay";
};

/* Rockchip MPP (rkmpp): claim VPU silicon; disable conflicting V4L2 nodes */
&vpu {
	status = "disabled";
};

&vepu {
	status = "disabled";
};

&vdec {
	status = "disabled";
};

&mpp_srv {
	status = "okay";
};

&vdpu {
	status = "okay";
};

&vdpu_mmu {
	status = "okay";
};

&vepu_mpp {
	status = "okay";
};

&jpegd {
	status = "okay";
};

&jpegd_mmu {
	status = "okay";
};

&rkvdec {
	status = "okay";
};

&rkvdec_mmu {
	status = "okay";
};

&rkvenc {
	status = "okay";
};

&rkvenc_mmu {
	status = "okay";
};
